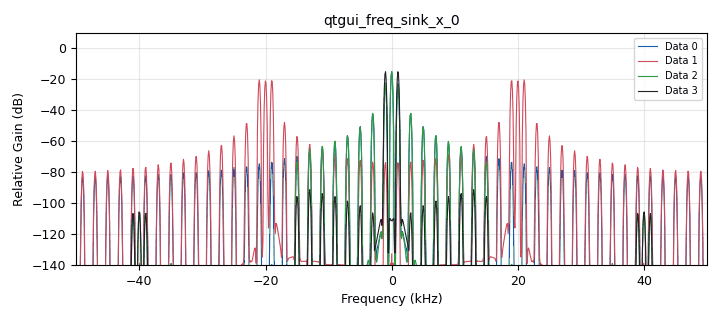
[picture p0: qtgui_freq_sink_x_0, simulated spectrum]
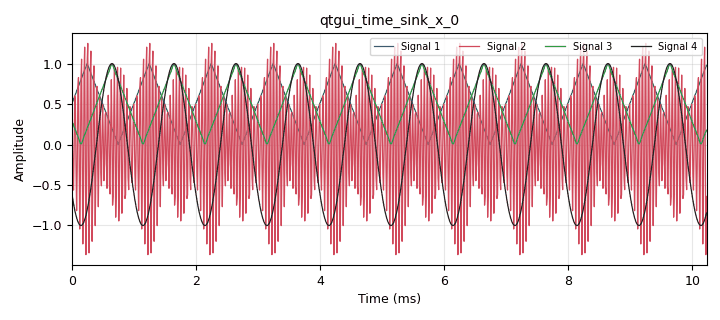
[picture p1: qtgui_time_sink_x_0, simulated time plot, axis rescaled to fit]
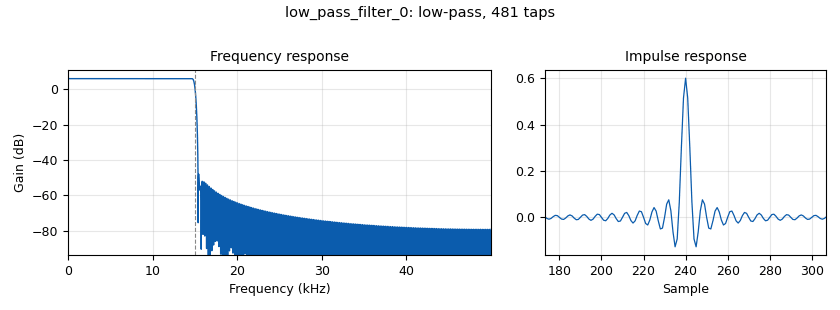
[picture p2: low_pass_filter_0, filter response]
options:
  parameters:
    generate_options: qt_gui
    id: GettingComplex_Quad
    output_language: python
    title: Quad
  states: {}

blocks:
- name: samp_rate
  id: variable
  parameters:
    value: 100e3
  states: {}
- name: analog_sig_source_x_0
  id: analog_sig_source_x
  parameters:
    amp: '1'
    comment: carrier 1
    freq: 20e3
    offset: '0'
    phase: '0'
    samp_rate: samp_rate
    type: float
    waveform: analog.GR_COS_WAVE
  states: {}
- name: analog_sig_source_x_0_0
  id: analog_sig_source_x
  parameters:
    amp: '1'
    comment: carrier 2
    freq: 20e3
    offset: '0'
    phase: '0'
    samp_rate: samp_rate
    type: float
    waveform: analog.GR_SIN_WAVE
  states: {}
- name: analog_sig_source_x_1
  id: analog_sig_source_x
  parameters:
    amp: '1'
    freq: '1000'
    offset: '0'
    phase: '0'
    samp_rate: samp_rate
    type: float
    waveform: analog.GR_TRI_WAVE
  states: {}
- name: analog_sig_source_x_1_0
  id: analog_sig_source_x
  parameters:
    amp: '1'
    freq: '1000'
    offset: '0'
    phase: '0'
    samp_rate: samp_rate
    type: float
    waveform: analog.GR_COS_WAVE
  states: {}
- name: blocks_add_xx_0
  id: blocks_add_xx
  parameters:
    type: float
  states: {}
- name: blocks_multiply_xx_0
  id: blocks_multiply_xx
  parameters:
    comment: up mixing
    type: float
  states: {}
- name: blocks_multiply_xx_0_0
  id: blocks_multiply_xx
  parameters:
    type: float
  states: {}
- name: blocks_multiply_xx_0_0_0
  id: blocks_multiply_xx
  parameters:
    comment: down mixing
    type: float
  states: {}
- name: blocks_multiply_xx_0_0_0_0
  id: blocks_multiply_xx
  parameters:
    type: float
  states: {}
- name: blocks_throttle_0
  id: blocks_throttle
  parameters:
    samples_per_second: samp_rate
    type: float
  states: {}
- name: low_pass_filter_0
  id: low_pass_filter
  parameters:
    cutoff_freq: 15e3
    decim: '1'
    gain: '2'
    samp_rate: samp_rate
    type: fir_filter_fff
    width: '500'
    win: window.WIN_HAMMING
  states: {}
- name: low_pass_filter_0_0
  id: low_pass_filter
  parameters:
    cutoff_freq: 15e3
    decim: '1'
    gain: '2'
    samp_rate: samp_rate
    type: fir_filter_fff
    width: '500'
    win: window.WIN_HAMMING
  states: {}
- name: qtgui_freq_sink_x_0
  id: qtgui_freq_sink_x
  parameters:
    bw: samp_rate
    fc: '0'
    fftsize: '1024'
    nconnections: '4'
    type: float
  states: {}
- name: qtgui_time_sink_x_0
  id: qtgui_time_sink_x
  parameters:
    nconnections: '4'
    size: '1024'
    srate: samp_rate
    type: float
  states: {}
- name: virtual_sink_0
  id: virtual_sink
  parameters:
    stream_id: carrier_cos
  states: {}
- name: virtual_sink_1
  id: virtual_sink
  parameters:
    stream_id: carrier_sin
  states: {}
- name: virtual_sink_1_0
  id: virtual_sink
  parameters:
    comment: transmitter
    stream_id: antenna
  states: {}
- name: virtual_source_0
  id: virtual_source
  parameters:
    stream_id: carrier_cos
  states: {}
- name: virtual_source_0_0
  id: virtual_source
  parameters:
    stream_id: carrier_sin
  states: {}
- name: virtual_source_0_0_0
  id: virtual_source
  parameters:
    stream_id: carrier_sin
  states: {}
- name: virtual_source_0_0_0_0
  id: virtual_source
  parameters:
    stream_id: antenna
  states: {}
- name: virtual_source_0_1
  id: virtual_source
  parameters:
    stream_id: carrier_cos
  states: {}

connections:
- [analog_sig_source_x_0, '0', virtual_sink_0, '0']
- [analog_sig_source_x_0_0, '0', virtual_sink_1, '0']
- [analog_sig_source_x_1, '0', blocks_multiply_xx_0, '0']
- [analog_sig_source_x_1, '0', qtgui_freq_sink_x_0, '0']
- [analog_sig_source_x_1, '0', qtgui_time_sink_x_0, '0']
- [analog_sig_source_x_1_0, '0', blocks_multiply_xx_0_0, '0']
- [blocks_add_xx_0, '0', blocks_throttle_0, '0']
- [blocks_add_xx_0, '0', qtgui_freq_sink_x_0, '1']
- [blocks_add_xx_0, '0', qtgui_time_sink_x_0, '1']
- [blocks_multiply_xx_0, '0', blocks_add_xx_0, '0']
- [blocks_multiply_xx_0_0, '0', blocks_add_xx_0, '1']
- [blocks_multiply_xx_0_0_0, '0', low_pass_filter_0, '0']
- [blocks_multiply_xx_0_0_0_0, '0', low_pass_filter_0_0, '0']
- [blocks_throttle_0, '0', virtual_sink_1_0, '0']
- [low_pass_filter_0, '0', qtgui_freq_sink_x_0, '2']
- [low_pass_filter_0, '0', qtgui_time_sink_x_0, '2']
- [low_pass_filter_0_0, '0', qtgui_freq_sink_x_0, '3']
- [low_pass_filter_0_0, '0', qtgui_time_sink_x_0, '3']
- [virtual_source_0, '0', blocks_multiply_xx_0, '1']
- [virtual_source_0_0, '0', blocks_multiply_xx_0_0, '1']
- [virtual_source_0_0_0, '0', blocks_multiply_xx_0_0_0_0, '1']
- [virtual_source_0_0_0_0, '0', blocks_multiply_xx_0_0_0, '1']
- [virtual_source_0_0_0_0, '0', blocks_multiply_xx_0_0_0_0, '0']
- [virtual_source_0_1, '0', blocks_multiply_xx_0_0_0, '0']

metadata:
  file_format: 1
  grc_version: 3.10.4.0
